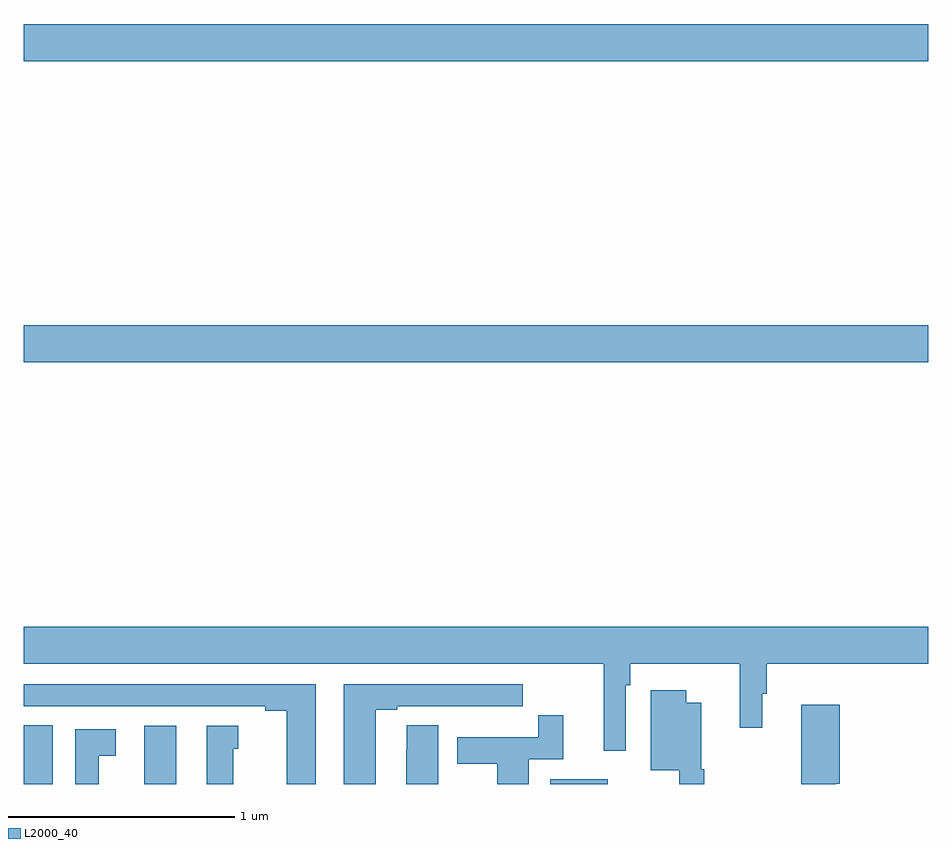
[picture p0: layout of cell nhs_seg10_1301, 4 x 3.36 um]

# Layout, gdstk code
import gdstk
lib = gdstk.Library(unit=1e-6, precision=1e-09)
def R(c, l, rs):  # rectangles x0, y0, x1, y1
    for r in rs: c.add(gdstk.rectangle(r[:2], r[2:], *l))
def P(c, l, *ps):  # polygons
    for p in ps: c.add(gdstk.Polygon(p, *l))
L2000_40 = (2000, 40)

nhs_seg10_1301 = lib.new_cell('nhs_seg10_1301')
R(nhs_seg10_1301, L2000_40, [(179,1250.5,179.128,1250.759), (179.534,1250.5,179.674,1250.758), (181.328,1250.5,181.582,1250.521), (179,1252.364,183,1252.528), (179,1253.696,183,1253.86)])
P(nhs_seg10_1301, L2000_40, [(181.662,1250.936),(181.682,1250.936),(181.682,1251.032),(182.167,1251.032),(182.167,1250.748),(182.266,1250.748),(182.266,1250.898),(182.285,1250.898),(182.285,1251.032),(183,1251.032),(183,1251.196),(179,1251.196),(179,1251.032),(181.565,1251.032),(181.565,1250.646),(181.662,1250.646)],
  [(180.556,1250.829),(180.652,1250.829),(180.652,1250.844),(180.928,1250.844),(180.928,1250.843),(181.094,1250.843),(181.094,1250.844),(181.207,1250.844),(181.207,1250.94),(180.416,1250.94),(180.416,1250.5),(180.556,1250.5)],
  [(180.292,1250.94),(179,1250.94),(179,1250.844),(180.068,1250.844),(180.068,1250.824),(180.164,1250.824),(180.164,1250.5),(180.292,1250.5)],
  [(182.008,1250.565),(181.996,1250.565),(181.996,1250.86),(181.93,1250.86),(181.93,1250.914),(181.772,1250.914),(181.772,1250.561),(181.899,1250.561),(181.899,1250.5),(182.008,1250.5)],
  [(182.591,1250.502),(182.609,1250.502),(182.609,1250.851),(182.438,1250.851),(182.438,1250.502),(182.437,1250.502),(182.437,1250.5),(182.591,1250.5)],
  [(181.234,1250.61),(181.385,1250.61),(181.385,1250.803),(181.276,1250.803),(181.276,1250.706),(180.917,1250.706),(180.917,1250.59),(181.094,1250.59),(181.094,1250.5),(181.234,1250.5)],
  [(180.832,1250.759),(180.693,1250.759),(180.693,1250.651),(180.692,1250.651),(180.692,1250.5),(180.832,1250.5)],
  [(179.926,1250.655),(179.95,1250.655),(179.95,1250.758),(179.81,1250.758),(179.81,1250.5),(179.926,1250.5)],
  [(179.332,1250.626),(179.407,1250.626),(179.407,1250.742),(179.228,1250.742),(179.228,1250.5),(179.332,1250.5)])

lib.write_gds('nhs_seg10_1301.gds')
